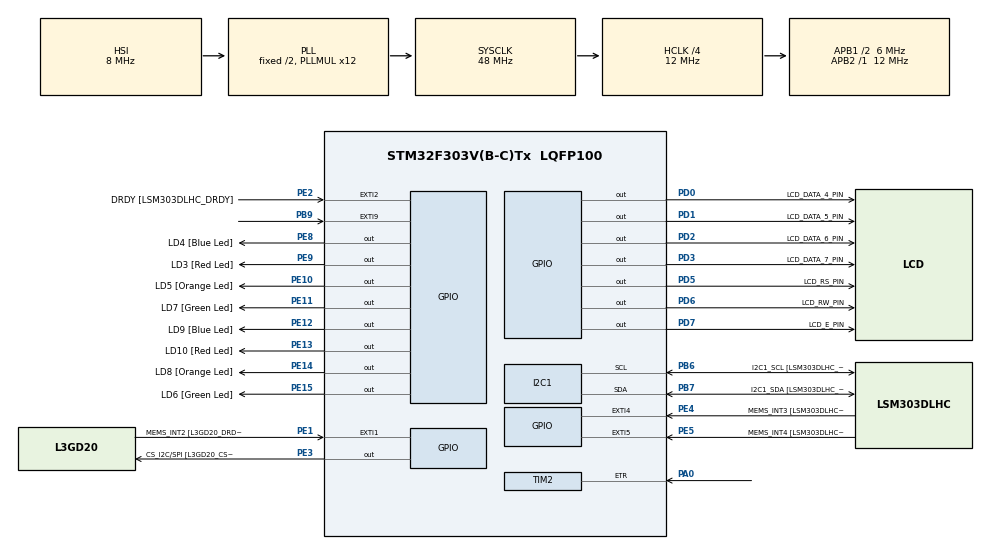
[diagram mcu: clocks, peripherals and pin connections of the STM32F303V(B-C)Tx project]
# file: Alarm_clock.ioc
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Mcu.Family=STM32F3
Mcu.Name=STM32F303V(B-C)Tx
Mcu.Package=LQFP100
NVIC.EXTI9_5_IRQn=true\:7\:0\:true\:false\:true\:true\:true\:true
NVIC.I2C1_EV_IRQn=true\:6\:0\:true\:false\:true\:true\:true\:true
NVIC.PriorityGroup=NVIC_PRIORITYGROUP_4
NVIC.TIM2_IRQn=true\:6\:0\:true\:false\:true\:true\:true\:true
NVIC.TIM6_DAC_IRQn=true\:15\:0\:false\:false\:true\:false\:true\:true
NVIC.TimeBase=TIM6_DAC_IRQn
NVIC.TimeBaseIP=TIM6
PA0.Signal=S_TIM2_CH1_ETR
PA11.GPIO_Label=DM
PA11.Signal=USB_DM
PA12.GPIO_Label=DP
PA12.Signal=USB_DP
PA13.GPIO_Label=SWDIO
PA13.Signal=SYS_JTMS-SWDIO
PA14.GPIO_Label=SWCLK
PA14.Signal=SYS_JTCK-SWCLK
PA5.GPIO_Label=SPI1_SCK [L3GD20_SCL/SPC]
PA5.GPIO_Mode=GPIO_MODE_AF_PP
PA5.GPIO_PuPd=GPIO_NOPULL
PA5.GPIO_Speed=GPIO_SPEED_FREQ_LOW
PA5.Signal=SPI1_SCK
PA6.GPIO_Label=SPI1_MISO [L3GD20_SA0/SDO]
PA6.GPIO_Mode=GPIO_MODE_AF_PP
PA6.GPIO_PuPd=GPIO_NOPULL
PA6.GPIO_Speed=GPIO_SPEED_FREQ_LOW
PA6.Signal=SPI1_MISO
PA7.GPIO_Label=SPI1_MISO [L3GD20_SDA/SDI/SDO]
PA7.GPIO_Mode=GPIO_MODE_AF_PP
PA7.GPIO_PuPd=GPIO_NOPULL
PA7.GPIO_Speed=GPIO_SPEED_FREQ_LOW
PA7.Signal=SPI1_MOSI
PB3.GPIO_Label=SWO
PB3.Signal=SYS_JTDO-TRACESWO
PB6.GPIO_FM6=__NULL
PB6.GPIO_Label=I2C1_SCL [LSM303DLHC_SCL]
PB6.GPIO_Mode=GPIO_MODE_AF_OD
PB6.GPIO_PuPd=GPIO_NOPULL
PB6.GPIO_Speed=GPIO_SPEED_FREQ_LOW
PB6.Mode=I2C
PB6.Signal=I2C1_SCL
PB7.GPIO_FM7=__NULL
PB7.GPIO_Label=I2C1_SDA [LSM303DLHC_SDA]
PB7.GPIO_Mode=GPIO_MODE_AF_OD
PB7.GPIO_PuPd=GPIO_NOPULL
PB7.GPIO_Speed=GPIO_SPEED_FREQ_LOW
PB7.Mode=I2C
PB7.Signal=I2C1_SDA
PB9.GPIO_ModeDefaultEXTI=GPIO_MODE_IT_FALLING
PB9.GPIO_PuPd=GPIO_PULLUP
PB9.Signal=GPXTI9
PC14-OSC32_IN.GPIO_Label=OSC32_IN
PC14-OSC32_IN.Signal=RCC_OSC32_IN
PC15-OSC32_OUT.GPIO_Label=OSC32_OUT
PC15-OSC32_OUT.Signal=RCC_OSC32_OUT
PD0.GPIO_Label=LCD_DATA_4_PIN
PD0.Signal=GPIO_Output
PD1.GPIO_Label=LCD_DATA_5_PIN
PD1.Signal=GPIO_Output
PD2.GPIO_Label=LCD_DATA_6_PIN
PD2.Signal=GPIO_Output
PD3.GPIO_Label=LCD_DATA_7_PIN
PD3.Signal=GPIO_Output
PD5.GPIO_Label=LCD_RS_PIN
PD5.Signal=GPIO_Output
PD6.GPIO_Label=LCD_RW_PIN
PD6.Signal=GPIO_Output
PD7.GPIO_Label=LCD_E_PIN
PD7.Signal=GPIO_Output
PE1.GPIO_Label=MEMS_INT2 [L3GD20_DRDY/INT2]
PE1.GPIO_ModeDefaultEXTI=GPIO_MODE_EVT_RISING
PE1.GPIO_PuPd=GPIO_NOPULL
PE1.Signal=GPXTI1
PE10.GPIO_Label=LD5 [Orange Led]
PE10.GPIO_ModeDefaultOutputPP=GPIO_MODE_OUTPUT_PP
PE10.GPIO_PuPd=GPIO_NOPULL
PE10.GPIO_Speed=GPIO_SPEED_FREQ_LOW
PE10.Signal=GPIO_Output
PE11.GPIO_Label=LD7 [Green Led]
PE11.GPIO_ModeDefaultOutputPP=GPIO_MODE_OUTPUT_PP
PE11.GPIO_PuPd=GPIO_NOPULL
PE11.GPIO_Speed=GPIO_SPEED_FREQ_LOW
PE11.Signal=GPIO_Output
PE12.GPIO_Label=LD9 [Blue Led]
PE12.GPIO_ModeDefaultOutputPP=GPIO_MODE_OUTPUT_PP
PE12.GPIO_PuPd=GPIO_NOPULL
PE12.GPIO_Speed=GPIO_SPEED_FREQ_LOW
PE12.Signal=GPIO_Output
PE13.GPIO_Label=LD10 [Red Led]
PE13.GPIO_ModeDefaultOutputPP=GPIO_MODE_OUTPUT_PP
PE13.GPIO_PuPd=GPIO_NOPULL
PE13.GPIO_Speed=GPIO_SPEED_FREQ_LOW
PE13.Signal=GPIO_Output
PE14.GPIO_Label=LD8 [Orange Led]
PE14.GPIO_ModeDefaultOutputPP=GPIO_MODE_OUTPUT_PP
PE14.GPIO_PuPd=GPIO_NOPULL
PE14.GPIO_Speed=GPIO_SPEED_FREQ_LOW
PE14.Signal=GPIO_Output
PE15.GPIO_Label=LD6 [Green Led]
PE15.GPIO_ModeDefaultOutputPP=GPIO_MODE_OUTPUT_PP
PE15.GPIO_PuPd=GPIO_NOPULL
PE15.GPIO_Speed=GPIO_SPEED_FREQ_LOW
PE15.Signal=GPIO_Output
PE2.GPIO_Label=DRDY [LSM303DLHC_DRDY]
PE2.GPIO_ModeDefaultEXTI=GPIO_MODE_EVT_RISING
PE2.GPIO_PuPd=GPIO_NOPULL
PE2.Signal=GPXTI2
PE3.GPIO_Label=CS_I2C/SPI [L3GD20_CS_I2C/SPI]
PE3.GPIO_ModeDefaultOutputPP=GPIO_MODE_OUTPUT_PP
PE3.GPIO_PuPd=GPIO_NOPULL
PE3.GPIO_Speed=GPIO_SPEED_FREQ_LOW
PE3.Signal=GPIO_Output
PE4.GPIO_Label=MEMS_INT3 [LSM303DLHC_INT1]
PE4.GPIO_ModeDefaultEXTI=GPIO_MODE_EVT_RISING
PE4.GPIO_PuPd=GPIO_NOPULL
PE4.Signal=GPXTI4
PE5.GPIO_Label=MEMS_INT4 [LSM303DLHC_INT2]
PE5.GPIO_ModeDefaultEXTI=GPIO_MODE_EVT_RISING
PE5.GPIO_PuPd=GPIO_NOPULL
PE5.Signal=GPXTI5
PE8.GPIO_Label=LD4 [Blue Led]
PE8.GPIO_ModeDefaultOutputPP=GPIO_MODE_OUTPUT_PP
PE8.GPIO_PuPd=GPIO_NOPULL
PE8.GPIO_Speed=GPIO_SPEED_FREQ_LOW
PE8.Signal=GPIO_Output
PE9.GPIO_Label=LD3 [Red Led]
PE9.GPIO_ModeDefaultOutputPP=GPIO_MODE_OUTPUT_PP
PE9.GPIO_PuPd=GPIO_NOPULL
PE9.GPIO_Speed=GPIO_SPEED_FREQ_LOW
PE9.Signal=GPIO_Output
PF0-OSC_IN.GPIO_Label=OSC_IN
PF0-OSC_IN.Signal=RCC_OSC_IN
PF1-OSC_OUT.GPIO_Label=OSC_OUT
PF1-OSC_OUT.Signal=RCC_OSC_OUT
ProjectManager.HeapSize=0x200
ProjectManager.StackSize=0x400
ProjectManager.TargetToolchain=STM32CubeIDE
RCC.AHBCLKDivider=RCC_SYSCLK_DIV4
RCC.AHBFreq_Value=12000000
RCC.APB1CLKDivider=RCC_HCLK_DIV2
RCC.APB1Freq_Value=6000000
RCC.APB1TimFreq_Value=12000000
RCC.APB2Freq_Value=12000000
RCC.APB2TimFreq_Value=12000000
RCC.CortexFreq_Value=12000000
RCC.HCLKFreq_Value=12000000
RCC.HSE_VALUE=8000000
RCC.HSI_VALUE=8000000
RCC.LSE_VALUE=32768
RCC.PLLMUL=RCC_PLL_MUL12
RCC.SYSCLKFreq_VALUE=48000000
RCC.SYSCLKSourceVirtual=RCC_SYSCLKSOURCE_PLLCLK
RCC.USBFreq_Value=48000000
SH.S_TIM2_CH1_ETR.0=TIM2_ETR,TriggerSource_ETR
TIM2.AutoReloadPreload=TIM_AUTORELOAD_PRELOAD_ENABLE
TIM2.Prescaler=12000
VP_SYS_VS_tim6.Mode=TIM6
VP_TIM2_VS_ClockSourceINT.Mode=Internal
VP_TIM2_VS_ControllerModeGated.Mode=Gated Mode
board=STM32F3DISCOVERY

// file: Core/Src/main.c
/* USER CODE BEGIN Header */
/**
  ******************************************************************************
  * @file           : main.c
  * @brief          : Main program body
  ******************************************************************************
  * @attention
  *
  * Copyright (c) 2024 STMicroelectronics.
  * All rights reserved.
  *
  * This software is licensed under terms that can be found in the LICENSE file
  * in the root directory of this software component.
  * If no LICENSE file comes with this software, it is provided AS-IS.
  *
  ******************************************************************************
  */
/* USER CODE END Header */
#include "main.h"

/* USER CODE BEGIN Includes */
#include "myTasks.h"
/* USER CODE END Includes */

I2C_HandleTypeDef hi2c1;

TIM_HandleTypeDef htim2;

void SystemClock_Config(void);
static void MX_GPIO_Init(void);
static void MX_TIM2_Init(void);
static void MX_I2C1_Init(void);

/* USER CODE BEGIN 0 */
TaskHandle_t STATE_UPDATE_HNDL;
TaskHandle_t LCD_HNDL;
TaskHandle_t DS3231_HNDL;

TaskHandle_t SHORT_CLICK_HNDL;
TaskHandle_t DOUBLE_CLICK_HNDL;
TaskHandle_t LONG_PRESS_HNDL;

TaskHandle_t CLOCK_TICK_HNDL;

TimerHandle_t setup_timer_hndl;
TimerHandle_t BUTTON_TIMER;

xSemaphoreHandle xClock_increment;

uint8_t push_state = not_clicked;

/* USER CODE END 0 */

int main(void)
{
  /* USER CODE BEGIN 1 */
	BaseType_t Status;
  /* USER CODE END 1 */

  /* MCU Configuration--------------------------------------------------------*/

  /* Reset of all peripherals, Initializes the Flash interface and the Systick. */
  HAL_Init();

  /* Configure the system clock */
  SystemClock_Config();

  /* Initialize all configured peripherals */
  MX_GPIO_Init();
  MX_TIM2_Init();
  MX_I2C1_Init();
  /* USER CODE BEGIN 2 */

  //START BUTTON TIMER
  HAL_TIM_Base_Start_IT(&htim2);
  //TURN ON TIF
  htim2.Instance->DIER |= (1<< TIM_DIER_TIE_Pos);

  Status = xTaskCreate(state_update_task, "status_update", 100, 0, 3, &STATE_UPDATE_HNDL);
  configASSERT(Status == pdPASS);

  Status = xTaskCreate(LCD_task, "LCD_TASK", 100, 0, 3, &LCD_HNDL);
  configASSERT(Status == pdPASS);

  Status = xTaskCreate(DS3231_task, "DS3231_TASK", 100, 0, 1, &DS3231_HNDL);
  configASSERT(Status == pdPASS);

  Status = xTaskCreate(SHORT_CLICK_task, "SHORT_CLICK_task", 100, 0, 2, &SHORT_CLICK_HNDL);
  configASSERT(Status == pdPASS);

  Status = xTaskCreate(DOUBLE_CLICK_task, "DOUBLE_CLICK_task", 100, 0, 2, &DOUBLE_CLICK_HNDL);
  configASSERT(Status == pdPASS);

  Status = xTaskCreate(LONG_PRESS_task, "LONG_PRESS_task", 100, 0, 2, &LONG_PRESS_HNDL);
  configASSERT(Status == pdPASS);

  Status = xTaskCreate(CLOCK_TICK_task, "CLOCK_TICK_task", 100, 0, 1, &CLOCK_TICK_HNDL);
  configASSERT(Status == pdPASS);

  setup_timer_hndl = xTimerCreate("SETUP TIMER", pdMS_TO_TICKS(5000), pdFALSE, (void*) 0, setup_timer_expiry);

  BUTTON_TIMER =  xTimerCreate("BUTTON_TIMER", pdMS_TO_TICKS(5000), pdFALSE, (void*) 0, NULL);

  //SEMAPHORE TODO: FOR CLOCK INCREMENTING
  xClock_increment = xSemaphoreCreateBinary();
  configASSERT(xClock_increment != NULL);

  vTaskStartScheduler();
  /* USER CODE END 2 */

  /* Infinite loop */
  while (1)
  {

  }
}

void SystemClock_Config(void)
{
  RCC_OscInitTypeDef RCC_OscInitStruct = {0};
  RCC_ClkInitTypeDef RCC_ClkInitStruct = {0};
  RCC_PeriphCLKInitTypeDef PeriphClkInit = {0};

  /** Initializes the RCC Oscillators according to the specified parameters
  * in the RCC_OscInitTypeDef structure.
  */
  RCC_OscInitStruct.OscillatorType = RCC_OSCILLATORTYPE_HSI;
  RCC_OscInitStruct.HSIState = RCC_HSI_ON;
  RCC_OscInitStruct.HSICalibrationValue = RCC_HSICALIBRATION_DEFAULT;
  RCC_OscInitStruct.PLL.PLLState = RCC_PLL_ON;
  RCC_OscInitStruct.PLL.PLLSource = RCC_PLLSOURCE_HSI;
  RCC_OscInitStruct.PLL.PLLMUL = RCC_PLL_MUL12;
  if (HAL_RCC_OscConfig(&RCC_OscInitStruct) != HAL_OK)
  {
    Error_Handler();
  }

  /** Initializes the CPU, AHB and APB buses clocks
  */
  RCC_ClkInitStruct.ClockType = RCC_CLOCKTYPE_HCLK|RCC_CLOCKTYPE_SYSCLK
                              |RCC_CLOCKTYPE_PCLK1|RCC_CLOCKTYPE_PCLK2;
  RCC_ClkInitStruct.SYSCLKSource = RCC_SYSCLKSOURCE_PLLCLK;
  RCC_ClkInitStruct.AHBCLKDivider = RCC_SYSCLK_DIV4;
  RCC_ClkInitStruct.APB1CLKDivider = RCC_HCLK_DIV2;
  RCC_ClkInitStruct.APB2CLKDivider = RCC_HCLK_DIV1;

  if (HAL_RCC_ClockConfig(&RCC_ClkInitStruct, FLASH_LATENCY_0) != HAL_OK)
  {
    Error_Handler();
  }
  PeriphClkInit.PeriphClockSelection = RCC_PERIPHCLK_I2C1;
  PeriphClkInit.I2c1ClockSelection = RCC_I2C1CLKSOURCE_HSI;
  if (HAL_RCCEx_PeriphCLKConfig(&PeriphClkInit) != HAL_OK)
  {
    Error_Handler();
  }
}

static void MX_I2C1_Init(void)
{

  hi2c1.Instance = I2C1;
  hi2c1.Init.Timing = 0x2000090E;
  hi2c1.Init.OwnAddress1 = 0;
  hi2c1.Init.AddressingMode = I2C_ADDRESSINGMODE_7BIT;
  hi2c1.Init.DualAddressMode = I2C_DUALADDRESS_DISABLE;
  hi2c1.Init.OwnAddress2 = 0;
  hi2c1.Init.OwnAddress2Masks = I2C_OA2_NOMASK;
  hi2c1.Init.GeneralCallMode = I2C_GENERALCALL_DISABLE;
  hi2c1.Init.NoStretchMode = I2C_NOSTRETCH_DISABLE;
  if (HAL_I2C_Init(&hi2c1) != HAL_OK)
  {
    Error_Handler();
  }

  /** Configure Analogue filter
  */
  if (HAL_I2CEx_ConfigAnalogFilter(&hi2c1, I2C_ANALOGFILTER_ENABLE) != HAL_OK)
  {
    Error_Handler();
  }

  /** Configure Digital filter
  */
  if (HAL_I2CEx_ConfigDigitalFilter(&hi2c1, 0) != HAL_OK)
  {
    Error_Handler();
  }

}

static void MX_TIM2_Init(void)
{

  TIM_ClockConfigTypeDef sClockSourceConfig = {0};
  TIM_SlaveConfigTypeDef sSlaveConfig = {0};
  TIM_MasterConfigTypeDef sMasterConfig = {0};

  htim2.Instance = TIM2;
  htim2.Init.Prescaler = 12000;
  htim2.Init.CounterMode = TIM_COUNTERMODE_UP;
  htim2.Init.Period = 4294967295;
  htim2.Init.ClockDivision = TIM_CLOCKDIVISION_DIV1;
  htim2.Init.AutoReloadPreload = TIM_AUTORELOAD_PRELOAD_ENABLE;
  if (HAL_TIM_Base_Init(&htim2) != HAL_OK)
  {
    Error_Handler();
  }
  sClockSourceConfig.ClockSource = TIM_CLOCKSOURCE_INTERNAL;
  if (HAL_TIM_ConfigClockSource(&htim2, &sClockSourceConfig) != HAL_OK)
  {
    Error_Handler();
  }
  sSlaveConfig.SlaveMode = TIM_SLAVEMODE_GATED;
  sSlaveConfig.InputTrigger = TIM_TS_ETRF;
  sSlaveConfig.TriggerPolarity = TIM_TRIGGERPOLARITY_NONINVERTED;
  sSlaveConfig.TriggerPrescaler = TIM_TRIGGERPRESCALER_DIV1;
  sSlaveConfig.TriggerFilter = 0;
  if (HAL_TIM_SlaveConfigSynchro(&htim2, &sSlaveConfig) != HAL_OK)
  {
    Error_Handler();
  }
  sMasterConfig.MasterOutputTrigger = TIM_TRGO_RESET;
  sMasterConfig.MasterSlaveMode = TIM_MASTERSLAVEMODE_DISABLE;
  if (HAL_TIMEx_MasterConfigSynchronization(&htim2, &sMasterConfig) != HAL_OK)
  {
    Error_Handler();
  }

}

static void MX_GPIO_Init(void)
{
  GPIO_InitTypeDef GPIO_InitStruct = {0};

  /* GPIO Ports Clock Enable */
  __HAL_RCC_GPIOE_CLK_ENABLE();
  __HAL_RCC_GPIOC_CLK_ENABLE();
  __HAL_RCC_GPIOF_CLK_ENABLE();
  __HAL_RCC_GPIOA_CLK_ENABLE();
  __HAL_RCC_GPIOD_CLK_ENABLE();
  __HAL_RCC_GPIOB_CLK_ENABLE();

  /*Configure GPIO pin Output Level */
  HAL_GPIO_WritePin(GPIOE, CS_I2C_SPI_Pin|LD4_Pin|LD3_Pin|LD5_Pin
                          |LD7_Pin|LD9_Pin|LD10_Pin|LD8_Pin
                          |LD6_Pin, GPIO_PIN_RESET);

  /*Configure GPIO pin Output Level */
  HAL_GPIO_WritePin(GPIOD, LCD_DATA_4_PIN_Pin|LCD_DATA_5_PIN_Pin|LCD_DATA_6_PIN_Pin|LCD_DATA_7_PIN_Pin
                          |LCD_RS_PIN_Pin|LCD_RW_PIN_Pin|LCD_E_PIN_Pin, GPIO_PIN_RESET);

  /*Configure GPIO pins : DRDY_Pin MEMS_INT3_Pin MEMS_INT4_Pin MEMS_INT2_Pin */
  GPIO_InitStruct.Pin = DRDY_Pin|MEMS_INT3_Pin|MEMS_INT4_Pin|MEMS_INT2_Pin;
  GPIO_InitStruct.Mode = GPIO_MODE_EVT_RISING;
  GPIO_InitStruct.Pull = GPIO_NOPULL;
  HAL_GPIO_Init(GPIOE, &GPIO_InitStruct);

  /*Configure GPIO pins : CS_I2C_SPI_Pin LD4_Pin LD3_Pin LD5_Pin
                           LD7_Pin LD9_Pin LD10_Pin LD8_Pin
                           LD6_Pin */
  GPIO_InitStruct.Pin = CS_I2C_SPI_Pin|LD4_Pin|LD3_Pin|LD5_Pin
                          |LD7_Pin|LD9_Pin|LD10_Pin|LD8_Pin
                          |LD6_Pin;
  GPIO_InitStruct.Mode = GPIO_MODE_OUTPUT_PP;
  GPIO_InitStruct.Pull = GPIO_NOPULL;
  GPIO_InitStruct.Speed = GPIO_SPEED_FREQ_LOW;
  HAL_GPIO_Init(GPIOE, &GPIO_InitStruct);

  /*Configure GPIO pins : SPI1_SCK_Pin SPI1_MISO_Pin SPI1_MISOA7_Pin */
  GPIO_InitStruct.Pin = SPI1_SCK_Pin|SPI1_MISO_Pin|SPI1_MISOA7_Pin;
  GPIO_InitStruct.Mode = GPIO_MODE_AF_PP;
  GPIO_InitStruct.Pull = GPIO_NOPULL;
  GPIO_InitStruct.Speed = GPIO_SPEED_FREQ_LOW;
  GPIO_InitStruct.Alternate = GPIO_AF5_SPI1;
  HAL_GPIO_Init(GPIOA, &GPIO_InitStruct);

  /*Configure GPIO pins : DM_Pin DP_Pin */
  GPIO_InitStruct.Pin = DM_Pin|DP_Pin;
  GPIO_InitStruct.Mode = GPIO_MODE_AF_PP;
  GPIO_InitStruct.Pull = GPIO_NOPULL;
  GPIO_InitStruct.Speed = GPIO_SPEED_FREQ_HIGH;
  GPIO_InitStruct.Alternate = GPIO_AF14_USB;
  HAL_GPIO_Init(GPIOA, &GPIO_InitStruct);

  /*Configure GPIO pins : LCD_DATA_4_PIN_Pin LCD_DATA_5_PIN_Pin LCD_DATA_6_PIN_Pin LCD_DATA_7_PIN_Pin
                           LCD_RS_PIN_Pin LCD_RW_PIN_Pin LCD_E_PIN_Pin */
  GPIO_InitStruct.Pin = LCD_DATA_4_PIN_Pin|LCD_DATA_5_PIN_Pin|LCD_DATA_6_PIN_Pin|LCD_DATA_7_PIN_Pin
                          |LCD_RS_PIN_Pin|LCD_RW_PIN_Pin|LCD_E_PIN_Pin;
  GPIO_InitStruct.Mode = GPIO_MODE_OUTPUT_PP;
  GPIO_InitStruct.Pull = GPIO_NOPULL;
  GPIO_InitStruct.Speed = GPIO_SPEED_FREQ_LOW;
  HAL_GPIO_Init(GPIOD, &GPIO_InitStruct);

  /*Configure GPIO pin : PB9 */
  GPIO_InitStruct.Pin = GPIO_PIN_9;
  GPIO_InitStruct.Mode = GPIO_MODE_IT_FALLING;
  GPIO_InitStruct.Pull = GPIO_PULLUP;
  HAL_GPIO_Init(GPIOB, &GPIO_InitStruct);

  /* EXTI interrupt init*/
  HAL_NVIC_SetPriority(EXTI9_5_IRQn, 7, 0);
  HAL_NVIC_EnableIRQ(EXTI9_5_IRQn);

}

/* USER CODE BEGIN 4 */

void HAL_TIM_TriggerCallback(TIM_HandleTypeDef *htim)
{
	if(htim == &htim2)
	{
		if(push_state == not_clicked)
		{
			if((HAL_GPIO_ReadPin(GPIOA, GPIO_PIN_0) == GPIO_PIN_RESET) && (htim2.Instance->DIER & ( 1 << TIM_DIER_TIE_Pos)))
			{
				uint32_t time_val = htim2.Instance->CNT;
				htim2.Instance->CNT = 0;

				if(time_val < 500)
				{
					xTaskNotifyFromISR(STATE_UPDATE_HNDL, short_click, eSetValueWithOverwrite, NULL);
					HAL_GPIO_WritePin(GPIOE, GPIO_PIN_11, GPIO_PIN_SET);
				}else
				{
					xTaskNotifyFromISR(STATE_UPDATE_HNDL, long_press, eSetValueWithOverwrite, NULL);
					HAL_GPIO_WritePin(GPIOE, GPIO_PIN_12, GPIO_PIN_SET);
				}

			}
		}
		//TODO: PROLONG TIMER IF BUTTON PUSHED AGAIN -- TO CHECK IN DEBUG MODE

	}

}

void HAL_GPIO_EXTI_Callback(uint16_t GPIO_Pin)
{
	if(GPIO_Pin == GPIO_PIN_9)
	{
		if(push_state == long_press)
		{
			htim2.Instance->CNT = 0;
			xTaskNotifyFromISR(LONG_PRESS_HNDL, 2, eSetBits, NULL);
		}
	}
}

void HAL_I2C_MemRxCpltCallback(I2C_HandleTypeDef *hi2c)
{
	I2C_DATA_RECEIVED = 1;
}

/*
 * STACK OVERFLOW DETECTION
 */
void vApplicationStackOverflowHook( TaskHandle_t xTask, char * pcTaskName )
{
	uint32_t command;

	lcd_clear();
	command = (SET_DDRAM_ADDR)|(LCD_LINE1);
	lcd_send_command(command);
	lcd_send_text("STACK OVERFLOW!!!");
	command = (SET_DDRAM_ADDR)|(LCD_LINE2);
	lcd_send_command(command);
	lcd_send_text(pcTaskName);
}

/* USER CODE END 4 */

void HAL_TIM_PeriodElapsedCallback(TIM_HandleTypeDef *htim)
{
  if (htim->Instance == TIM6) {
    HAL_IncTick();
  }
}

void Error_Handler(void)
{
  __disable_irq();
  while (1)
  {
  }
}
